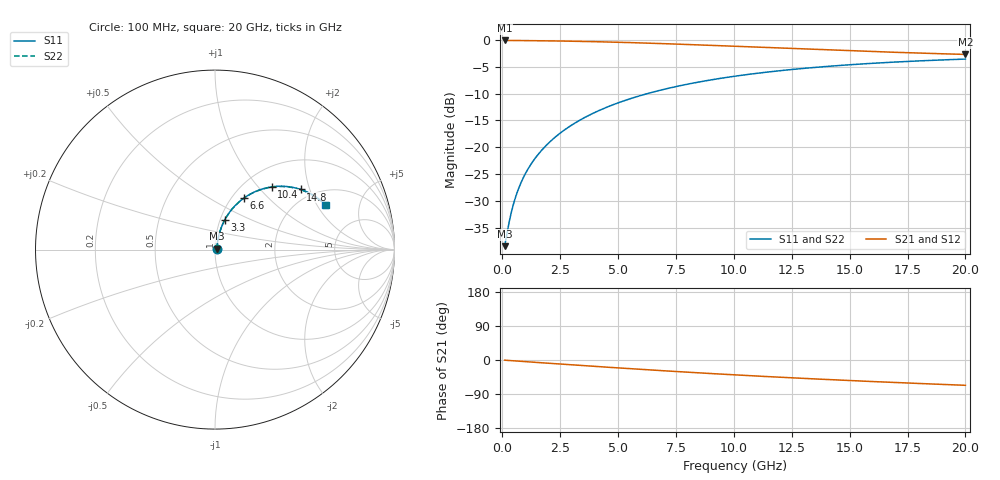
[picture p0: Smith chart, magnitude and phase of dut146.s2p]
! Touchstone file exported from HFSS 2026.1.0
!  File:  C:/ffzhzh/LocalFiles/Ansys_Project_Files/temp_train_TMRDL_146_1782983049_6248.aedt
!  Generated:  05:05:32 PM Jul  2, 2026
!  Design:  TMRDL
!  Project:  temp_train_TMRDL_146_1782983049_6248
! Variables:
!  h_bsmrdl = 2um
!  h_ox = 20um
!  h_rdl = 5um
!  h_sub = 80um
!  h_tmrdl = 2.14um
!  h_tsv = 80um
!  h_via = 3um
!  l_bsmrdl = 300um
!  l_sub = 1387.06um
!  l_tmrdl = 987.06um
!  m_sub = 200um
!  pitch = 59.31um
!  r_tsv = 6um
!  s_tmrdl = 10um
!  w_bsmrdl = 18um
!  w_sub = 500um
!  w_tmrdl = 15.42um
!  x_tsv_center1 = 994.77um
!  x_tsv_center2 = 1312.77um
!  x_tsv_center3 = 2315.25um
!  x_tsv_center4 = 2633.25um
!  x_tsv_center5 = 3635.73um
!  x_tsv_center6 = 3953.73um
# GHz S MA R 50.000000
! Terminal data exported
! Port[1] = TM_RDL1_1_T1
! Port[2] = TM_RDL1_1_T2
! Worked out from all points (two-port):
!   200 points, 100 MHz to 20 GHz, reference 50 ohm
!   highest |S21| = -0.09 dB at 100 MHz (marker M1); lowest = -2.7 dB at 20 GHz (marker M2)
!   |S21| within 3 dB of the highest: start of sweep to end of sweep
!   lowest |S11| = -38.4 dB at 100 MHz (marker M3), VSWR 1.02, Z = 51.1 + j0.58 ohm
!   |S11| at or under -10 dB: start of sweep to 6.261 GHz
!   |S22| runs from -38.4 to -3.6 dB; largest |S21 - S12| = 6e-15
!   S11 on the Smith chart (normalised r, x): 100 MHz: 1.02, +0.01; 3.3 GHz: 1.05, +0.36; 6.6 GHz: 1.14, +0.73; 10.4 GHz: 1.32, +1.18; 14.8 GHz: 1.71, +1.74; 20 GHz: 2.64, +2.37
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0.1  0.01199 28.3  0.9895 -0.4  0.9895 -0.4  0.01199 28.3
! Gamma 0 0 0 0
! Port Impedance 50 0 50 0
0.3  0.02029 56.6  0.9891 -1.3  0.9891 -1.3  0.02029 56.6
0.4  0.02533 62.6  0.9888 -1.8  0.9888 -1.8  0.02533 62.6
0.5  0.03054 66.3  0.9884 -2.2  0.9884 -2.2  0.03054 66.3
0.6  0.0358 68.8  0.988 -2.6  0.988 -2.6  0.0358 68.8
0.8  0.04639 71.8  0.9872 -3.5  0.9872 -3.5  0.04639 71.8
1.1  0.06224 73.9  0.9859 -4.8  0.9859 -4.8  0.06224 73.9
1.5  0.08331 74.8  0.9839 -6.5  0.9839 -6.5  0.08332 74.8
2  0.1095 74.6  0.9811 -8.6  0.9811 -8.6  0.1095 74.6
2.6  0.1407 73.6  0.9769 -11.1  0.9769 -11.1  0.1407 73.5
3.3  0.1765 71.7  0.9709 -14.0  0.9709 -14.0  0.1765 71.6
3.5  0.1865 71.1  0.969 -14.8  0.969 -14.8  0.1865 71.0
4.9  0.2546 66.5  0.9533 -20.4  0.9533 -20.4  0.2547 66.4
6.6  0.3308 60.6  0.9296 -27.0  0.9296 -27.0  0.3308 60.5
6.8  0.3392 59.9  0.9266 -27.8  0.9266 -27.8  0.3393 59.8
8.3  0.3987 54.8  0.9027 -33.3  0.9027 -33.3  0.3988 54.6
10.1  0.4614 48.9  0.8726 -39.4  0.8726 -39.4  0.4614 48.7
10.4  0.4709 47.9  0.8675 -40.4  0.8675 -40.4  0.4709 47.7
13.4  0.5528 38.9  0.8184 -49.7  0.8184 -49.7  0.5528 38.7
14.8  0.5834 35.1  0.7972 -53.6  0.7972 -53.6  0.5835 34.8
16.7  0.6183 30.1  0.7709 -58.7  0.7709 -58.7  0.6184 29.8
20  0.6636 22.2  0.7333 -66.8  0.7333 -66.8  0.6637 21.9
